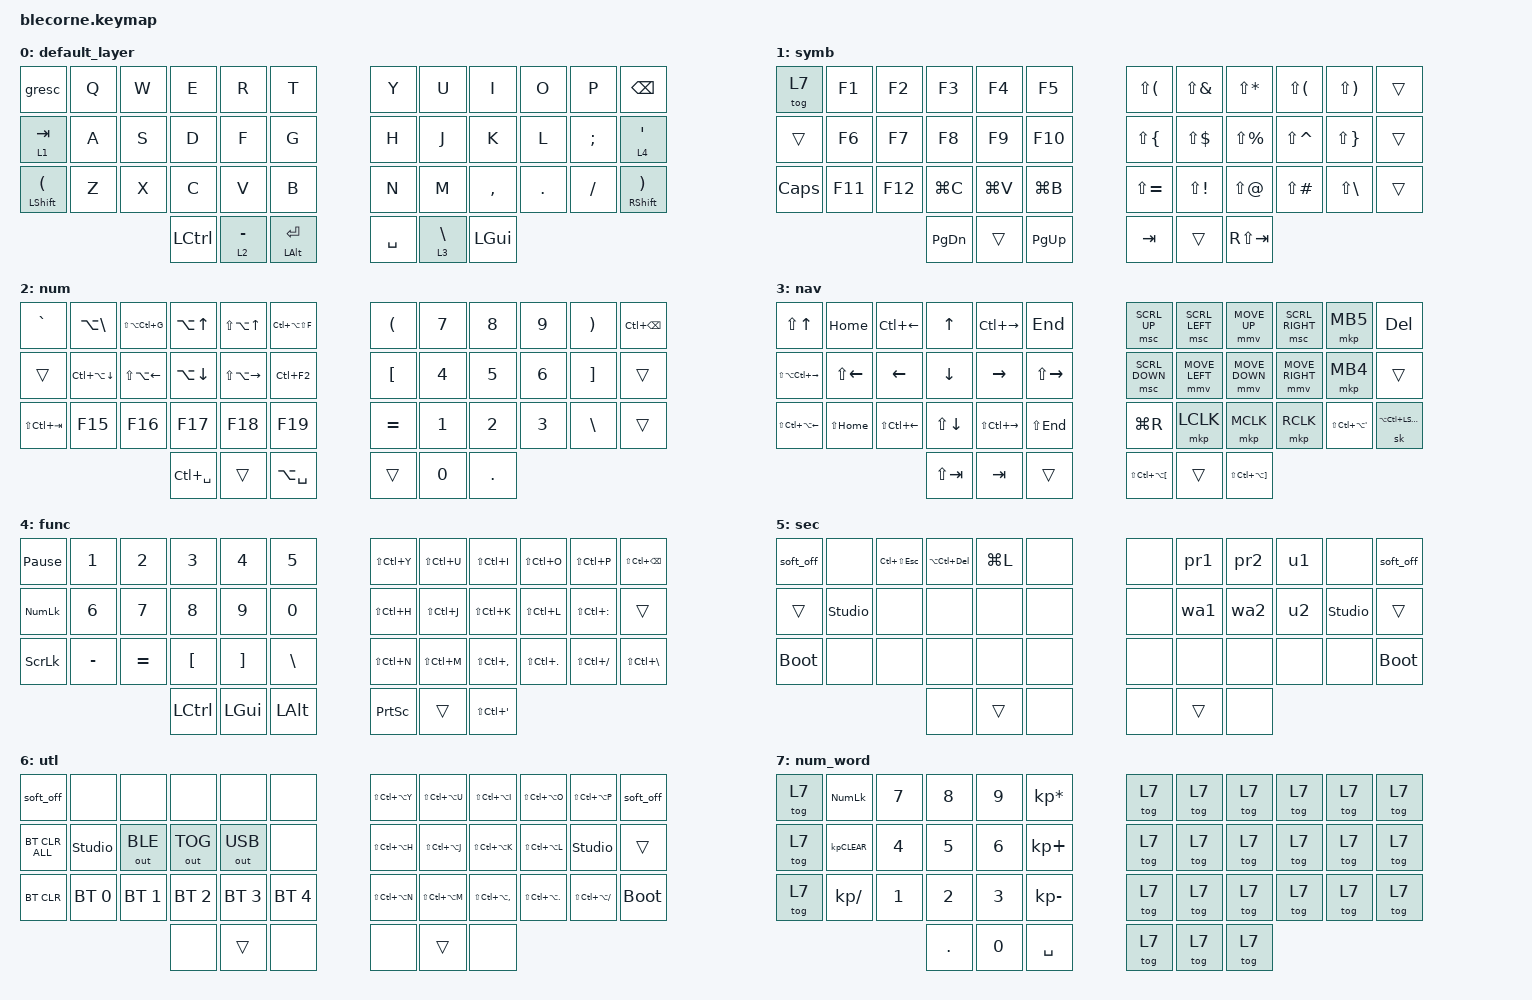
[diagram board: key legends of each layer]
/*
 * Copyright (c) 2020 The ZMK Contributors
 *
 * SPDX-License-Identifier: MIT
 */

#include <behaviors.dtsi>
#include <dt-bindings/zmk/bt.h>
#include <dt-bindings/zmk/keys.h>
#include <dt-bindings/zmk/outputs.h>
#include <dt-bindings/zmk/pointing.h>

&gresc {
    keep-mods = <(MOD_LSFT|MOD_RSFT)>;
    mods = <(MOD_LSFT|MOD_RSFT|MOD_LCTL|MOD_RCTL)>;
};

/ {
    combos {
        compatible = "zmk,combos";

        caps_lock {
            bindings = <&kp CAPS>;
            key-positions = <24 35>;
        };

        left_meh {
            bindings = <&kp LC(LA(LEFT_SHIFT))>;
            key-positions = <24 25>;
        };

        right_meh {
            bindings = <&kp LC(LA(LEFT_SHIFT))>;
            key-positions = <35 34>;
        };

        left_hyper {
            bindings = <&kp LA(LC(LG(LEFT_SHIFT)))>;
            key-positions = <24 25 26>;
        };

        right_hyper {
            bindings = <&kp LA(LC(LG(LEFT_SHIFT)))>;
            key-positions = <35 34 33>;
        };

        ctrl_alt_del_left {
            bindings = <&kp LA(LC(DELETE))>;
            key-positions = <25 26 27 28>;
        };

        ctrl_alt_del_right {
            bindings = <&kp LA(LC(DELETE))>;
            key-positions = <34 33 32 31>;
        };
    };

    macros {
        pr1: p1 {
            compatible = "zmk,behavior-macro";
            #binding-cells = <0>;
            bindings = <&kp LS(L) &kp COLON &kp RBKT &kp U &kp T &kp LS(F) &kp LS(C) &kp PLUS &kp N1 &kp N5 &kp B &kp LS(N)>;
            label = "P1";
        };

        pr2: p2 {
            compatible = "zmk,behavior-macro";
            #binding-cells = <0>;
            bindings = <&kp Z &kp LS(B) &kp D &kp LS(R) &kp PIPE &kp LS(R) &kp N7 &kp DOT &kp N1 &kp K &kp LS(B) &kp S>;
            label = "P2";
        };

        u1: u1 {
            compatible = "zmk,behavior-macro";
            #binding-cells = <0>;
            bindings = <&kp A &kp A &kp R &kp O &kp N &kp DOT &kp R &kp E &kp E &kp V &kp E &kp S &kp AT &kp C &kp O &kp R &kp G &kp A &kp N &kp DOT &kp C &kp O &kp M>;
            label = "U1";
        };

        u2: u2 {
            compatible = "zmk,behavior-macro";
            #binding-cells = <0>;
            bindings = <&kp W &kp O &kp R &kp K &kp N1 &kp N2 &kp N3 &kp LS(B) &kp O &kp O &kp H &kp O &kp O &kp N7 &kp N7>;
            label = "U2";
        };

        wa1: wa1 {
            compatible = "zmk,behavior-macro";
            #binding-cells = <0>;
            bindings = <&kp PRCNT &kp LS(P) &kp LS(H) &kp LS(S) &kp COMMA &kp LS(I) &kp O &kp LS(F) &kp PLUS &kp LS(P) &kp N2 &kp LS(P)>;
            label = "WA1";
        };

        wa2: wa2 {
            compatible = "zmk,behavior-macro";
            #binding-cells = <0>;
            bindings = <&kp N7 &kp G &kp A &kp LT &kp P &kp N &kp R &kp MINUS &kp F &kp N &kp AT &kp LS(M)>;
            label = "WA2";
        };
    };

    keymap {
        compatible = "zmk,keymap";

        default_layer {
            bindings = <
&gresc          &kp Q  &kp W  &kp E      &kp R        &kp T                  &kp Y      &kp U       &kp I         &kp O    &kp P     &kp BSPC
&lt 1 TAB       &kp A  &kp S  &kp D      &kp F        &kp G                  &kp H      &kp J       &kp K         &kp L    &kp SEMI  &lt 4 APOS
&mt LSHFT LPAR  &kp Z  &kp X  &kp C      &kp V        &kp B                  &kp N      &kp M       &kp COMMA     &kp DOT  &kp FSLH  &mt RIGHT_SHIFT RIGHT_PARENTHESIS
                              &kp LCTRL  &lt 2 MINUS  &mt LEFT_ALT RETURN    &kp SPACE  &lt 3 BSLH  &kp LEFT_GUI
            >;
        };

        symb {
            bindings = <
&tog 7        &kp F1   &kp F2   &kp F3         &kp F4     &kp F5         &kp LS(LPAR)   &kp LS(AMPS)  &kp LS(STAR)   &kp LS(LPAR)   &kp LS(RPAR)  &trans
&trans        &kp F6   &kp F7   &kp F8         &kp F9     &kp F10        &kp LS(LBRC)   &kp LS(DLLR)  &kp LS(PRCNT)  &kp LS(CARET)  &kp LS(RBRC)  &trans
&kp CAPSLOCK  &kp F11  &kp F12  &kp LG(C)      &kp LG(V)  &kp LG(B)      &kp LS(EQUAL)  &kp LS(EXCL)  &kp LS(AT)     &kp LS(POUND)  &kp LS(BSLH)  &trans
                                &kp PAGE_DOWN  &trans     &kp PAGE_UP    &kp TAB        &trans        &kp RS(TAB)
            >;
        };

        num {
            bindings = <
&kp GRAVE        &kp LA(BACKSLASH)  &kp LS(LA(LC(G)))  &kp LA(UP)     &kp LS(LA(UP_ARROW))  &kp LC(LA(LS(F)))    &kp LPAR   &kp N7  &kp N8      &kp N9  &kp RPAR  &kp LC(BSPC)
&trans           &kp LC(LA(DOWN))   &kp LS(LA(LEFT))   &kp LA(DOWN)   &kp LS(LA(RIGHT))     &kp LC(F2)           &kp LBKT   &kp N4  &kp N5      &kp N6  &kp RBKT  &trans
&kp LS(LC(TAB))  &kp F15            &kp F16            &kp F17        &kp F18               &kp F19              &kp EQUAL  &kp N1  &kp N2      &kp N3  &kp BSLH  &trans
                                                       &kp LC(SPACE)  &trans                &kp LA(SPACE)        &trans     &kp N0  &kp PERIOD
            >;
        };

        nav {
            bindings = <
&kp LS(UP)                   &kp HOME      &kp LC(LEFT)      &kp UP        &kp LC(RIGHT)      &kp END          &msc SCRL_UP                  &msc SCRL_LEFT  &mmv MOVE_UP                   &msc SCRL_RIGHT  &mkp MB5              &kp DEL
&kp LS(LA(LC(RIGHT_ARROW)))  &kp LS(LEFT)  &kp LEFT          &kp DOWN      &kp RIGHT          &kp LS(RIGHT)    &msc SCRL_DOWN                &mmv MOVE_LEFT  &mmv MOVE_DOWN                 &mmv MOVE_RIGHT  &mkp MB4              &trans
&kp LS(LC(LA(LEFT)))         &kp LS(HOME)  &kp LS(LC(LEFT))  &kp LS(DOWN)  &kp LS(LC(RIGHT))  &kp LS(END)      &kp LG(R)                     &mkp LCLK       &mkp MCLK                      &mkp RCLK        &kp LS(LC(LA(APOS)))  &sk LA(LC(LEFT_SHIFT))
                                                             &kp LS(TAB)   &kp TAB            &trans           &kp LS(LC(LA(LEFT_BRACKET)))  &trans          &kp LS(LC(LA(RIGHT_BRACKET)))
            >;
        };

        func {
            bindings = <
&kp PAUSE_BREAK  &kp N1     &kp N2     &kp N3     &kp N4    &kp N5      &kp LS(LC(Y))    &kp LS(LC(U))  &kp LS(LC(I))             &kp LS(LC(O))       &kp LS(LC(P))      &kp LS(LC(BACKSPACE))
&kp KP_NUMLOCK   &kp N6     &kp N7     &kp N8     &kp N9    &kp N0      &kp LS(LC(H))    &kp LS(LC(J))  &kp LS(LC(K))             &kp LS(LC(L))       &kp LS(LC(COLON))  &trans
&kp SCROLLLOCK   &kp MINUS  &kp EQUAL  &kp LBKT   &kp RBKT  &kp BSLH    &kp LS(LC(N))    &kp LS(LC(M))  &kp LS(LC(COMMA))         &kp LS(LC(PERIOD))  &kp LS(LC(FSLH))   &kp LS(LC(BSLH))
                                       &kp LCTRL  &kp LGUI  &kp LALT    &kp PRINTSCREEN  &trans         &kp LS(LC(SINGLE_QUOTE))
            >;
        };

        sec {
            bindings = <
&soft_off    &none           &kp LC(LS(ESC))  &kp LA(LC(DELETE))  &kp LG(L)  &none    &none  &pr1    &pr2   &u1    &none           &soft_off
&trans       &studio_unlock  &none            &none               &none      &none    &none  &wa1    &wa2   &u2    &studio_unlock  &trans
&bootloader  &none           &none            &none               &none      &none    &none  &none   &none  &none  &none           &bootloader
                                              &none               &trans     &none    &none  &trans  &none
            >;
        };

        utl {
            bindings = <
&soft_off       &none           &none         &none         &none         &none           &kp LS(LC(LA(Y)))  &kp LS(LC(LA(U)))  &kp LS(LC(LA(I)))      &kp LS(LC(LA(O)))       &kp LS(LC(LA(P)))      &soft_off
&bt BT_CLR_ALL  &studio_unlock  &out OUT_BLE  &out OUT_TOG  &out OUT_USB  &none           &kp LS(LC(LA(H)))  &kp LS(LC(LA(J)))  &kp LS(LC(LA(K)))      &kp LS(LC(LA(L)))       &studio_unlock         &trans
&bt BT_CLR      &bt BT_SEL 0    &bt BT_SEL 1  &bt BT_SEL 2  &bt BT_SEL 3  &bt BT_SEL 4    &kp LS(LC(LA(N)))  &kp LS(LC(LA(M)))  &kp LS(LC(LA(COMMA)))  &kp LS(LC(LA(PERIOD)))  &kp LS(LC(LA(SLASH)))  &bootloader
                                              &none         &trans        &none           &none              &trans             &none
            >;
        };

        num_word {
            bindings = <
&tog 7  &kp KP_NUMLOCK  &kp N7  &kp N8   &kp N9  &kp KP_MULTIPLY    &tog 7  &tog 7  &tog 7  &tog 7  &tog 7  &tog 7
&tog 7  &kp KP_CLEAR    &kp N4  &kp N5   &kp N6  &kp KP_PLUS        &tog 7  &tog 7  &tog 7  &tog 7  &tog 7  &tog 7
&tog 7  &kp KP_DIVIDE   &kp N1  &kp N2   &kp N3  &kp KP_MINUS       &tog 7  &tog 7  &tog 7  &tog 7  &tog 7  &tog 7
                                &kp DOT  &kp N0  &kp SPACE          &tog 7  &tog 7  &tog 7
            >;
        };
    };

    conditional_layers {
        compatible = "zmk,conditional-layers";

        sec {
            if-layers = <1 2>;
            then-layer = <5>;
        };

        utl {
            if-layers = <3 4>;
            then-layer = <6>;
        };
    };
};
